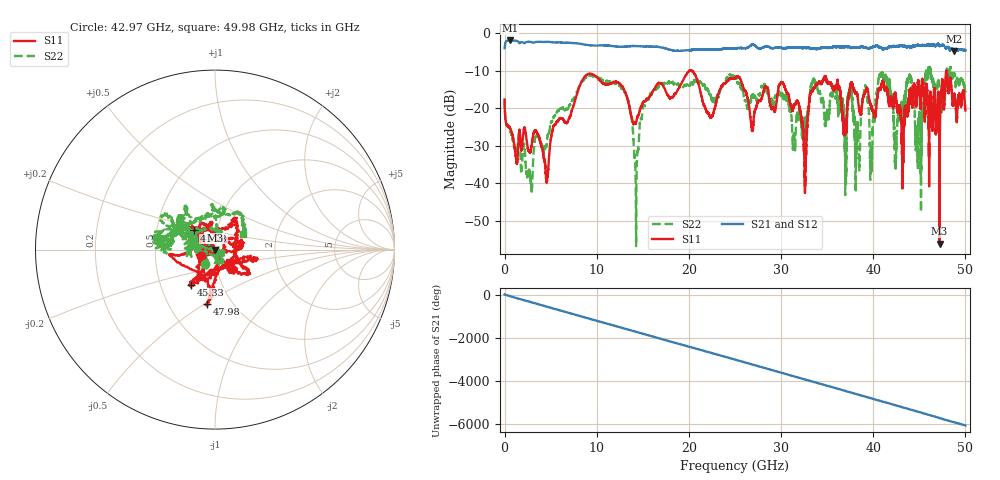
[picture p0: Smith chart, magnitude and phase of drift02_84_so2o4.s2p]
!Created with skrf (http://scikit-rf.org).
# Hz S RI R 50.0
!freq ReS11 ImS11 ReS21 ImS21 ReS12 ImS12 ReS22 ImS22
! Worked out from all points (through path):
!   10001 points, 300 kHz to 50 GHz, reference 50 ohm
!   highest |S21| = -1.99 dB at 555.3 MHz (marker M1); lowest = -4.8 dB at 48.77 GHz (marker M2)
!   group delay of S21, straight-line fit = 337 ps
!   lowest |S11| = -56.1 dB at 47.2 GHz (marker M3), VSWR 1.00, Z = 49.9 - j0.132 ohm
!   |S11| at or under -10 dB: start of sweep to 20.06 GHz; 20.20716 GHz to 20.22022 GHz (13.06 MHz wide, 0.0646 % of centre); 20.24 GHz to end of sweep (the widest 3 of 7)
!   |S22| runs from -56.8 to -9.0 dB; largest |S21 - S12| = 0.035
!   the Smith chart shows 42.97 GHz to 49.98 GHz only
!   S11 on the Smith chart (normalised r, x): 42.97 GHz: 0.86, -0.06; 44.08 GHz: 0.77, +0.17; 45.33 GHz: 0.72, -0.30; 47.98 GHz: 0.77, -0.51; 49.98 GHz: 1.16, -0.16
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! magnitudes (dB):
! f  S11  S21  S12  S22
! 300 kHz  -17.8  -4.0  -4.0  -17.5
! 555.3 MHz  -25.2  -2.0  -2.0  -25.9
! 4.565 GHz  -39.9  -2.4  -2.4  -29.4
! 8.335 GHz  -13.0  -2.9  -2.9  -13.2
! 13 GHz  -15.3  -3.7  -3.6  -15.7
! 14.28 GHz  -23.8  -3.5  -3.5  -51.3
! 16.67 GHz  -13.3  -3.7  -3.7  -14.5
! 25 GHz  -12.1  -4.1  -4.1  -12.1
! 26.86 GHz  -25.9  -3.1  -3.1  -16.5
! 30.19 GHz  -13.3  -4.1  -4.1  -17.0
! 32.58 GHz  -38.3  -4.0  -4.0  -23.8
! 33.34 GHz  -15.7  -4.0  -4.0  -13.6
! 38.29 GHz  -16.8  -3.9  -3.9  -23.7
! 41.67 GHz  -18.2  -3.8  -3.9  -12.1
! 42.97 GHz  -21.5  -3.3  -3.4  -20.1
! 44.08 GHz  -16.0  -3.9  -4.0  -11.6
! 45.33 GHz  -12.6  -3.4  -3.3  -20.0
! 47.2 GHz  -56.1  -3.4  -3.4  -16.4
! 47.98 GHz  -10.3  -3.7  -3.6  -9.5
! 48.77 GHz  -16.8  -4.8  -4.8  -10.6
! 49.98 GHz  -19.6  -4.5  -4.5  -15.0
! 50 GHz  -20.6  -4.6  -4.6  -15.4
